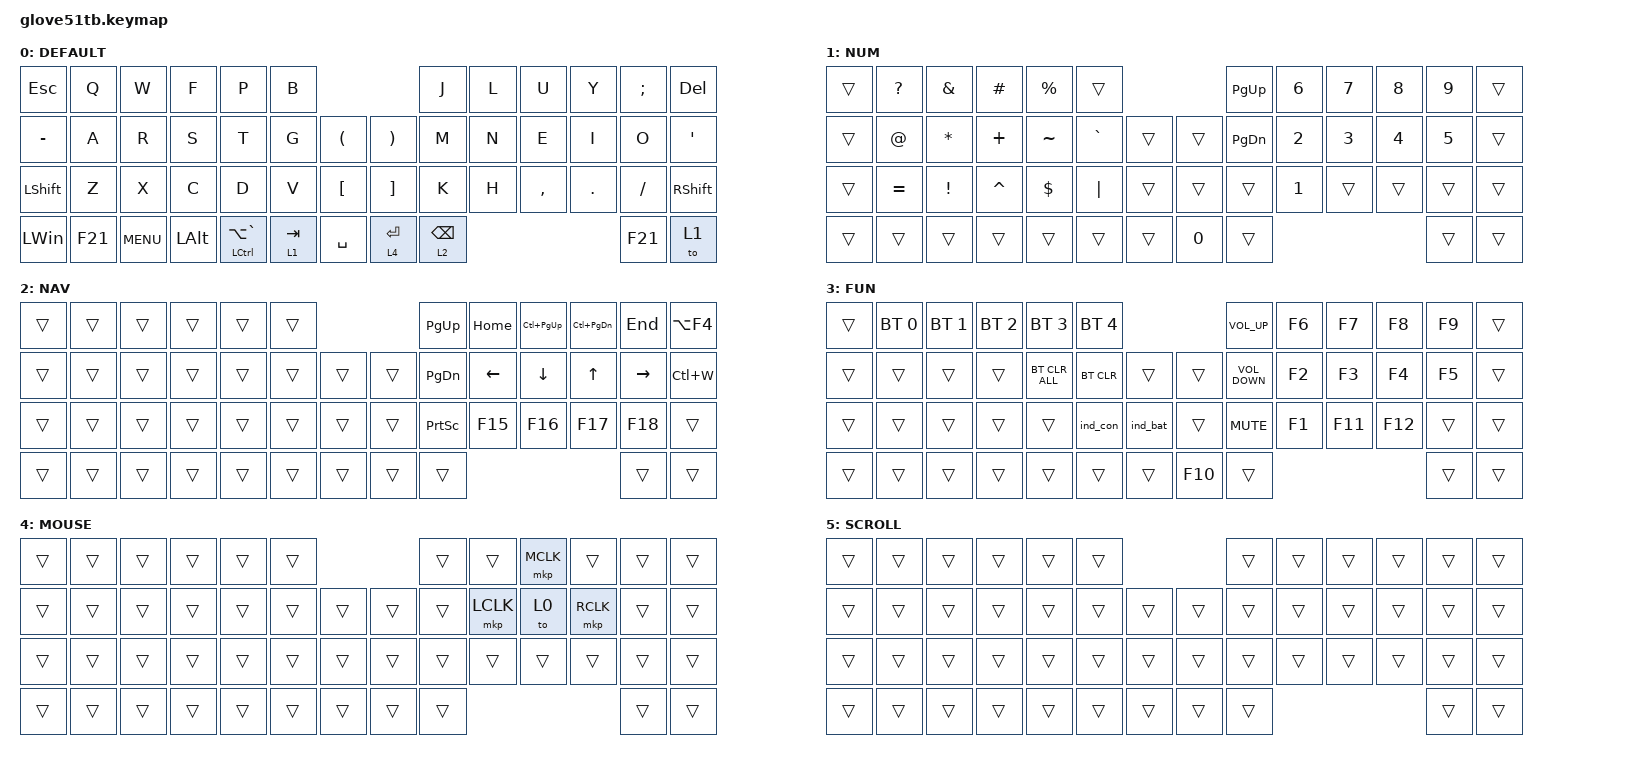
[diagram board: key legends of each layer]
#define ZMK_POINTING_DEFAULT_SCRL_VAL 150

#include <behaviors/rgbled_widget.dtsi>
#include <dt-bindings/zmk/input_transform.h>
#include <input/processors.dtsi>
#include <zephyr/dt-bindings/input/input-event-codes.h>
#include <behaviors.dtsi>
#include <dt-bindings/zmk/bt.h>
#include <dt-bindings/zmk/keys.h>
#include <dt-bindings/zmk/pointing.h>

// Layer Numbering

#define DEFAULT 0
#define NUM     1
#define SYM     2
#define FUN     3
#define MOUSE   4
#define SCROLL  5

&mmv {
    delay-ms = <20>;
    trigger-period-ms = <5>;
    time-to-max-speed-ms = <100>;
    acceleration-exponent = <2>;
};

&msc {
    delay-ms = <3>;
    trigger-period-ms = <3>;
    time-to-max-speed-ms = <100>;
    acceleration-exponent = <0>;
};

/ {
    input_processors {
        zip_wheel_scaler: zip_wheel_scaler {
            compatible = "zmk,input-processor-scaler";
            #input-processor-cells = <2>;
            type = <INPUT_EV_REL>;
            codes = <INPUT_REL_WHEEL>;
            track-remainders;
        };
    };
};

/ {
    combos {
        compatible = "zmk,combos";

        scroll {
            bindings = <&mo 5>;
            key-positions = <35 36>;
        };
    };

    behaviors {
        sensor_rotate_kp: sensor_rotate_kp {
            compatible = "zmk,behavior-sensor-rotate-var";
            #sensor-binding-cells = <2>;
            bindings = <&kp>, <&kp>;
        };

        mouse_wheel_scroll: mouse_wheel_scroll {
            compatible = "zmk,behavior-sensor-rotate-var";
            #sensor-binding-cells = <2>;
            bindings = <&msc>, <&msc>;

            tap-ms = <20>;
        };

        new_behavior: new_behavior {
            compatible = "zmk,behavior-key-repeat";
            label = "NEW_BEHAVIOR";
            #binding-cells = <0>;
            usage-pages = 3;
        };
    };

    macros {
        new_macro: new_macro {
            compatible = "zmk,behavior-macro";
            #binding-cells = <0>;
            bindings = <&none>;
            label = "NEW_MACRO";
        };
    };

    keymap {
        compatible = "zmk,keymap";

        default_layer {
            label = "DEFAULT";
            bindings = <
&kp ESC         &kp Q    &kp W       &kp F         &kp P                &kp B                                                   &kp J            &kp L  &kp U      &kp Y    &kp SEMI  &kp DEL
&kp MINUS       &kp A    &kp R       &kp S         &kp T                &kp G      &kp LEFT_PARENTHESIS  &kp RIGHT_PARENTHESIS  &kp M            &kp N  &kp E      &kp I    &kp O     &kp APOS
&kp LEFT_SHIFT  &kp Z    &kp X       &kp C         &kp D                &kp V      &kp LBKT              &kp RBKT               &kp K            &kp H  &kp COMMA  &kp DOT  &kp FSLH  &kp RIGHT_SHIFT
&kp LEFT_WIN    &kp F21  &kp C_MENU  &kp LEFT_ALT  &mt LCTRL LA(GRAVE)  &lt 1 TAB  &kp SPACE             &lt 4 ENTER            &lt 2 BACKSPACE                             &kp F21   &to 1
            >;
        };

        number_layer {
            label = "NUM";
            bindings = <
&trans  &kp QUESTION  &kp AMPERSAND  &kp HASH   &kp PERCENT  &trans                     &kp PAGE_UP    &kp N6  &kp N7  &kp N8  &kp N9  &trans
&trans  &kp AT        &kp STAR       &kp PLUS   &kp TILDE    &kp GRAVE  &trans  &trans  &kp PAGE_DOWN  &kp N2  &kp N3  &kp N4  &kp N5  &trans
&trans  &kp EQUAL     &kp EXCL       &kp CARET  &kp DOLLAR   &kp PIPE   &trans  &trans  &trans         &kp N1  &trans  &trans  &trans  &trans
&trans  &trans        &trans         &trans     &trans       &trans     &trans  &kp N0  &trans                                 &trans  &trans
            >;
        };

        navigation_layer {
            label = "NAV";
            bindings = <
&trans  &trans  &trans  &trans  &trans  &trans                  &kp PAGE_UP      &kp HOME  &kp LC(PAGE_UP)  &kp LC(PAGE_DOWN)  &kp END    &kp LA(F4)
&trans  &trans  &trans  &trans  &trans  &trans  &trans  &trans  &kp PAGE_DOWN    &kp LEFT  &kp DOWN         &kp UP             &kp RIGHT  &kp LC(W)
&trans  &trans  &trans  &trans  &trans  &trans  &trans  &trans  &kp PRINTSCREEN  &kp F15   &kp F16          &kp F17            &kp F18    &trans
&trans  &trans  &trans  &trans  &trans  &trans  &trans  &trans  &trans                                                         &trans     &trans
            >;
        };

        function_layer {
            label = "FUN";
            bindings = <
&trans  &bt BT_SEL 0  &bt BT_SEL 1  &bt BT_SEL 2  &bt BT_SEL 3    &bt BT_SEL 4                     &kp C_VOLUME_UP    &kp F6  &kp F7   &kp F8   &kp F9  &trans
&trans  &trans        &trans        &trans        &bt BT_CLR_ALL  &bt BT_CLR    &trans    &trans   &kp C_VOLUME_DOWN  &kp F2  &kp F3   &kp F4   &kp F5  &trans
&trans  &trans        &trans        &trans        &trans          &ind_con      &ind_bat  &trans   &kp K_MUTE         &kp F1  &kp F11  &kp F12  &trans  &trans
&trans  &trans        &trans        &trans        &trans          &trans        &trans    &kp F10  &trans                                       &trans  &trans
            >;
        };

        mouse_layer {
            label = "MOUSE";
            bindings = <
&trans  &trans  &trans  &trans  &trans  &trans                  &trans  &trans     &mkp MCLK  &trans     &trans  &trans
&trans  &trans  &trans  &trans  &trans  &trans  &trans  &trans  &trans  &mkp LCLK  &to 0      &mkp RCLK  &trans  &trans
&trans  &trans  &trans  &trans  &trans  &trans  &trans  &trans  &trans  &trans     &trans     &trans     &trans  &trans
&trans  &trans  &trans  &trans  &trans  &trans  &trans  &trans  &trans                                   &trans  &trans
            >;
        };

        scroll_layer {
            label = "SCROLL";
            bindings = <
&trans  &trans  &trans  &trans  &trans  &trans                  &trans  &trans  &trans  &trans  &trans  &trans
&trans  &trans  &trans  &trans  &trans  &trans  &trans  &trans  &trans  &trans  &trans  &trans  &trans  &trans
&trans  &trans  &trans  &trans  &trans  &trans  &trans  &trans  &trans  &trans  &trans  &trans  &trans  &trans
&trans  &trans  &trans  &trans  &trans  &trans  &trans  &trans  &trans                          &trans  &trans
            >;
        };
    };
};
